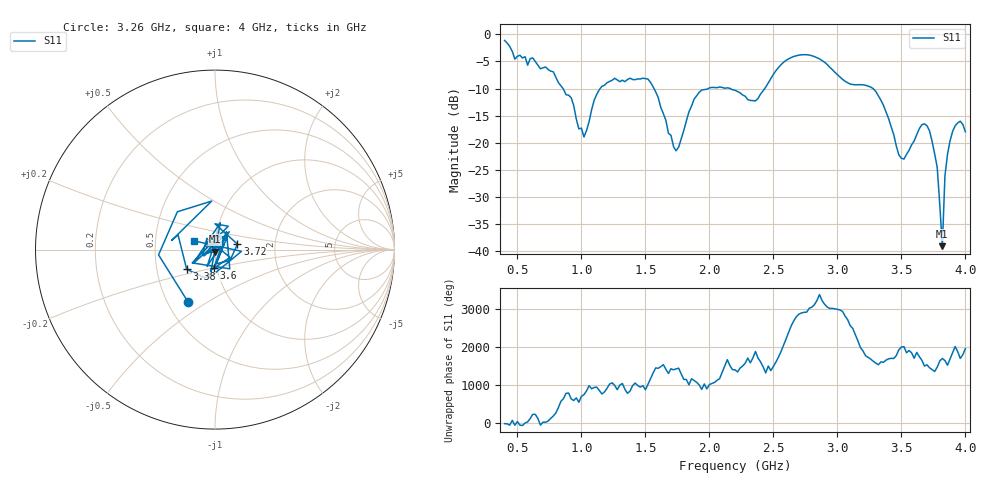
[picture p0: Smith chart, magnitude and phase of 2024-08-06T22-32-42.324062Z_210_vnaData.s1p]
!Created with skrf (http://scikit-rf.org).
# Hz S RI R 50.0
!freq ReS11 ImS11
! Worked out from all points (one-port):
!   181 points, 400 MHz to 4 GHz, reference 50 ohm
!   lowest |S11| = -39.0 dB at 3.82 GHz (marker M1), VSWR 1.02, Z = 49.8 - j1.09 ohm
!   |S11| at or under -10 dB: 856.4 MHz to 1.146 GHz (289.9 MHz wide, 29 % of centre); 1.567 GHz to 1.99 GHz (422.8 MHz wide, 23.8 % of centre); 3.279 GHz to end of sweep (the widest 3 of 4)
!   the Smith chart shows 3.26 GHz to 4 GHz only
!   S11 on the Smith chart (normalised r, x): 3.26 GHz: 0.63, -0.41; 3.38 GHz: 0.71, -0.16; 3.6 GHz: 0.97, -0.20; 3.72 GHz: 1.28, +0.08; 4 GHz: 0.79, +0.08
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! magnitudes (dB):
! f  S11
! 400 MHz  -1.1
! 480 MHz  -4.6
! 620 MHz  -4.4
! 860 MHz  -10.1
! 1.02 GHz  -18.9
! 1.14 GHz  -10.2
! 1.3 GHz  -8.7
! 1.52 GHz  -8.2
! 1.72 GHz  -20.7
! 1.76 GHz  -20.8
! 1.92 GHz  -10.7
! 2.2 GHz  -10.3
! 2.36 GHz  -12.3
! 2.66 GHz  -4.1
! 3.1 GHz  -9.2
! 3.26 GHz  -9.7
! 3.38 GHz  -14.3
! 3.48 GHz  -22.2
! 3.56 GHz  -21.4
! 3.6 GHz  -19.6
! 3.66 GHz  -16.7
! 3.72 GHz  -17.8
! 3.78 GHz  -24.5
! 3.82 GHz  -39.0
! 3.84 GHz  -26.1
! 3.88 GHz  -19.6
! 3.96 GHz  -16.0
! 4 GHz  -17.9
